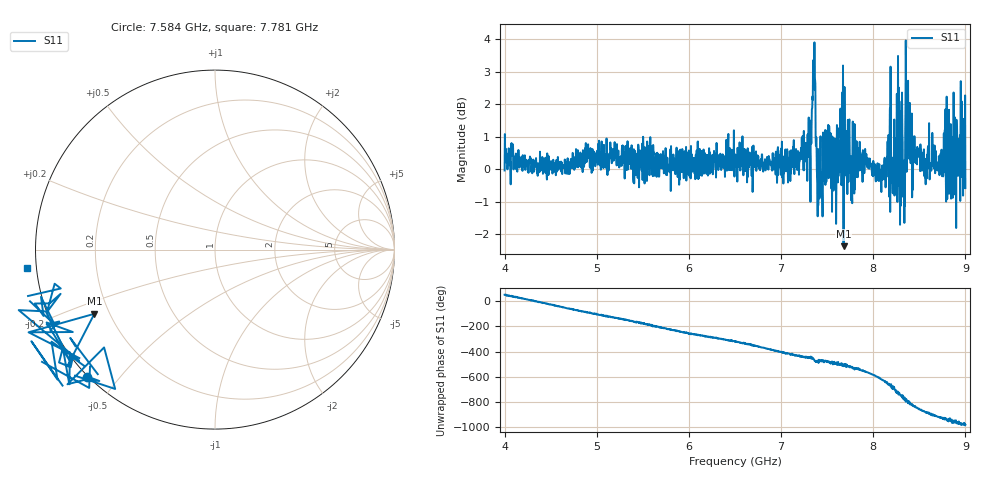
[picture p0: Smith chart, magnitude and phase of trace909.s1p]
! Created with skrf 1.8.0 (http://scikit-rf.org).
# Hz S RI R 50.0
!freq ReS11 ImS11
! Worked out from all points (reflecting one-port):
!   1601 points, 4 GHz to 9 GHz, reference 50 ohm
!   lowest |S11| = -2.4 dB at 7.678 GHz (marker M1), VSWR 7.38, Z = 7.19 - j12.2 ohm
!   phase of S11 starts at 53 deg and turns -1034 deg over the sweep
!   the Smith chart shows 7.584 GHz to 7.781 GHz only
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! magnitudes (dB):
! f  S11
! 4 GHz  0.0
! 4.625 GHz  -0.2
! 5.25 GHz  0.2
! 5.875 GHz  0.1
! 6.5 GHz  0.3
! 7.125 GHz  0.5
! 7.294 GHz  0.6
! 7.347 GHz  3.3
! 7.366 GHz  2.4
! 7.4 GHz  0.6
! 7.428 GHz  1.0
! 7.512 GHz  1.4
! 7.572 GHz  -0.2
! 7.678 GHz  -2.4
! 7.75 GHz  0.0
! 8.084 GHz  -0.2
! 8.162 GHz  0.4
! 8.225 GHz  0.8
! 8.259 GHz  1.3
! 8.312 GHz  2.4
! 8.375 GHz  1.7
! 8.425 GHz  0.2
! 8.556 GHz  -0.2
! 8.738 GHz  -0.1
! 8.797 GHz  2.2
! 8.875 GHz  0.8
! 8.956 GHz  0.0
! 9 GHz  -0.6
